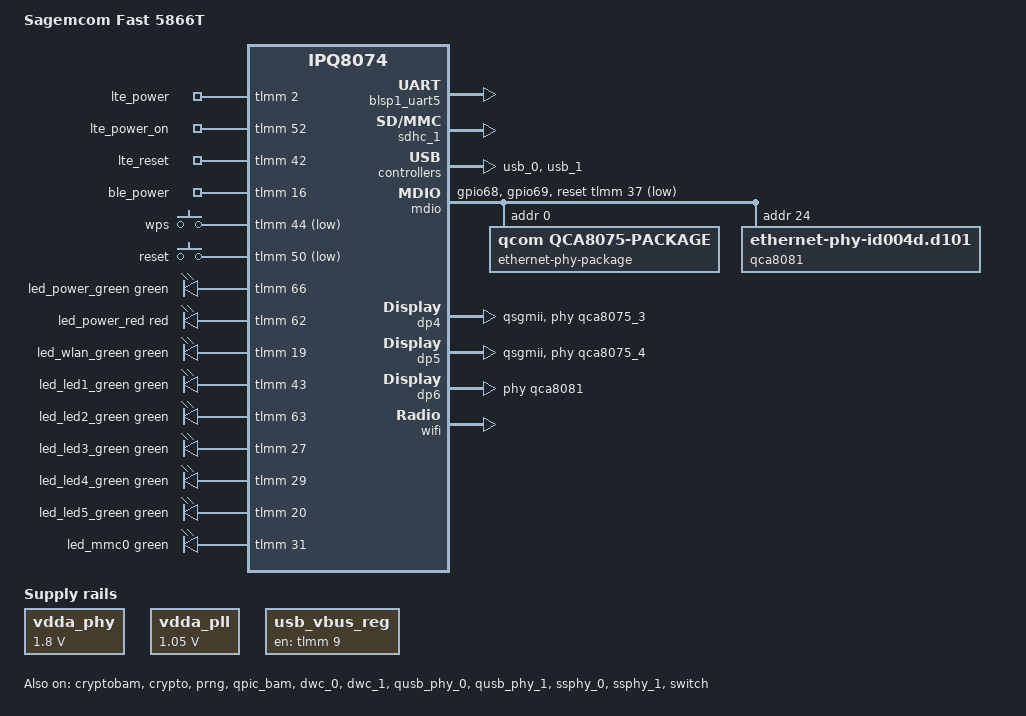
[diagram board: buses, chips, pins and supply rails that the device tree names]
// SPDX-License-Identifier: GPL-2.0-or-later OR MIT

/dts-v1/;

#include "ipq8074.dtsi"
#include "ipq8074-hk-cpu.dtsi"
#include "ipq8074-ess.dtsi"
#include <dt-bindings/gpio/gpio.h>
#include <dt-bindings/input/input.h>
#include <dt-bindings/leds/common.h>

/ {
	model = "Sagemcom Fast 5866T";
	compatible = "sagemcom,5866t", "qcom,ipq8074";

	aliases {
		led-boot = &led_power_green;
		led-failsafe = &led_power_red;
		led-running = &led_power_green;
		led-upgrade = &led_power_red;
		serial0 = &blsp1_uart5;
		ethernet3 = &dp4;
		ethernet4 = &dp5;
		ethernet5 = &dp6;
		label-mac-device = &dp4;
	};

	chosen {
		stdout-path = "serial0:115200n8";
    bootargs-append = " swiotlb=1 coherent_pool=2M";
		// bootargs-append = "swiotlb=1 coherent_pool=2M usb-storage.quirks=2c7c:0800:u";
	};

	vdda_phy: regulator-fixed {
		compatible = "regulator-fixed";
		regulator-name = "vdda-phy";
		regulator-min-microvolt = <1800000>;
		regulator-max-microvolt = <1800000>;
		regulator-always-on;
	};

	vdda_pll: regulator-fixed {
		compatible = "regulator-fixed";
		regulator-name = "vdda-pll";
		regulator-min-microvolt = <1050000>;
		regulator-max-microvolt = <1050000>;
		regulator-always-on;
	};
 
	usb_vbus_reg: regulator-usb-vbus {
		compatible = "regulator-fixed";
		regulator-name = "usb_vbus";
		gpio = <&tlmm 9 GPIO_ACTIVE_LOW>;
		enable-active-high;
		regulator-always-on;
		regulator-boot-on;
	};

	gpio-export {
		compatible = "gpio-export";

		lte-power {
			gpio-export,name = "lte_power";
			gpio-export,output = <1>;
			gpios = <&tlmm 2 GPIO_ACTIVE_HIGH>;
		};

		lte-power-on {
			gpio-export,name = "lte_power_on";
			gpio-export,output = <1>;
			gpios = <&tlmm 52 GPIO_ACTIVE_HIGH>;
		};

		lte-reset {
			gpio-export,name = "lte_reset";
			gpio-export,output = <1>;
			gpios = <&tlmm 42 GPIO_ACTIVE_HIGH>;
		};

		ble-power {
			gpio-export,name = "ble_power";
			gpio-export,output = <1>;
			gpios = <&tlmm 16 GPIO_ACTIVE_HIGH>;
		};
	};

	keys {
		compatible = "gpio-keys";

		wps {
			label = "wps";
			linux,code = <KEY_WPS_BUTTON>;
			gpios = <&tlmm 44 GPIO_ACTIVE_LOW>;
			debounce-interval = <60>;
		};

		reset {
			label = "reset";
			linux,code = <KEY_RESTART>;
			gpios = <&tlmm 50 GPIO_ACTIVE_LOW>;
			debounce-interval = <60>;
		};
	};

	leds {
		compatible = "gpio-leds";

		led_power_green: power_green {
			function = LED_FUNCTION_POWER;
			color = <LED_COLOR_ID_GREEN>;
			gpios = <&tlmm 66 GPIO_ACTIVE_HIGH>;
			default-state = "on";
		};

		led_power_red: power_red {
			function = LED_FUNCTION_POWER;
			color = <LED_COLOR_ID_RED>;
			gpios = <&tlmm 62 GPIO_ACTIVE_HIGH>;
			default-state = "off";
		};

		led_wlan_green: wlan_green {
			function = LED_FUNCTION_WLAN;
			color = <LED_COLOR_ID_GREEN>;
			gpios = <&tlmm 19 GPIO_ACTIVE_HIGH>;
			default-state = "on";
		};

		led_led1_green: led1_green {
			function = "status";
			color = <LED_COLOR_ID_GREEN>;
			gpios = <&tlmm 43 GPIO_ACTIVE_HIGH>;
			default-state = "off";
		};

		led_led2_green: led2_green {
			function = "status";
			color = <LED_COLOR_ID_GREEN>;
			gpios = <&tlmm 63 GPIO_ACTIVE_HIGH>;
			default-state = "off";
		};

		led_led3_green: led3_green {
			function = "status";
			color = <LED_COLOR_ID_GREEN>;
			gpios = <&tlmm 27 GPIO_ACTIVE_HIGH>;
			default-state = "off";
		};

		led_led4_green: led4_green {
			function = "status";
			color = <LED_COLOR_ID_GREEN>;
			gpios = <&tlmm 29 GPIO_ACTIVE_HIGH>;
			default-state = "off";
		};

		led_led5_green: led5_green {
			function = "status";
			color = <LED_COLOR_ID_GREEN>;
			gpios = <&tlmm 20 GPIO_ACTIVE_HIGH>;
			default-state = "off";
		};

		led_mmc0: mmc0 {
			function = "mmc";
			color = <LED_COLOR_ID_GREEN>;
			gpios = <&tlmm 31 GPIO_ACTIVE_HIGH>;
			linux,default-trigger = "mmc0";
			default-state = "off";
		};
	};
};

&tlmm {
	mdio_pins: mdio-pins {
		mdc {
			pins = "gpio68";
			function = "mdc";
			drive-strength = <8>;
			bias-pull-up;
		};

		mdio {
			pins = "gpio69";
			function = "mdio";
			drive-strength = <8>;
			bias-pull-up;
		};
	};

	led_pins: led-pins {
		pins = "gpio19", "gpio20", "gpio27", "gpio29", 
		       "gpio43", "gpio62", "gpio63", "gpio66";
		function = "gpio";
		drive-strength = <8>;
		bias-pull-down;
	};

	modem_pins: modem-pins {
		pins = "gpio2", "gpio42", "gpio52";
		function = "gpio";
		drive-strength = <8>;
		bias-pull-up;
	};
};

&blsp1_uart5 {
	status = "okay";
};

&cryptobam {
	status = "okay";
};

&crypto {
	status = "okay";
};

&prng {
	status = "okay";
};

&qpic_bam {
	status = "okay";
};

&sdhc_1 {
	/delete-property/ mmc-hs400-1_8v;
	mmc-hs200-1_8v;
	mmc-ddr-1_8v;
	vqmmc-supply = <&l11>;
	status = "okay";

	partitions {
		compatible = "fixed-partitions";
		#address-cells = <1>;
		#size-cells = <1>;

		partition@0 {
			label = "sbl1";
			reg = <0x00008800 0x00080000>;
			read-only;
		};

		partition@1 {
			label = "bootconfig";
			reg = <0x00010800 0x00040000>;
			read-only;
		};

		partition@2 {
			label = "bootconfig1";
			reg = <0x00018800 0x00040000>;
			read-only;
		};

		partition@3 {
			label = "qsee";
			reg = <0x00020800 0x00180000>;
		};

		partition@4 {
			label = "qsee_1";
			reg = <0x00038800 0x00180000>;
		};

		partition@5 {
			label = "devcfg";
			reg = <0x00050800 0x00040000>;
		};

		partition@6 {
			label = "devcfg_1";
			reg = <0x00058800 0x00040000>;
		};

		partition@7 {
			label = "rpm";
			reg = <0x00070800 0x00040000>;
		};

		partition@8 {
			label = "rpm_1";
			reg = <0x00078800 0x00040000>;
		};

		partition@9 {
			label = "appsbl";
			reg = <0x0009a800 0x000a0000>;
		};

		partition@10 {
			label = "art";
			reg = <0x000ae800 0x00040000>;
			read-only;
		};

		partition@11 {
			label = "hlos";
			reg = <0x000b6800 0x00600000>;
		};

		partition@12 {
			label = "rootfs";
			reg = <0x00116800 0x12C00000>;
		};

		partition@13 {
			label = "wififw";
			reg = <0x013d6800 0x00400000>;
		};

		partition@14 {
			label = "ethphyfw";
			reg = <0x01416800 0x00080000>;
		};

		partition@15 {
			label = "rootfs_data";
			reg = <0x014e2000 0x190000000>; 
		};
	};
};

&usb_0 {
	status = "okay";
};

&usb_1 {
	status = "okay";
};

&dwc_0 {
	status = "okay";
};

&dwc_1 {
	status = "okay";
};

&qusb_phy_0 {
	status = "okay";
	vdd-supply = <&usb_vbus_reg>;
};

&qusb_phy_1 {
	status = "okay";
	vdd-supply = <&usb_vbus_reg>;
};

&ssphy_0 {
	status = "okay"; 
};

&ssphy_1 {
	status = "okay"; 
};

&mdio {
	status = "okay";

	pinctrl-0 = <&mdio_pins>;
	pinctrl-names = "default";
	reset-gpios = <&tlmm 37 GPIO_ACTIVE_LOW>;

	ethernet-phy-package@0 {
		compatible = "qcom,qca8075-package";
		#address-cells = <1>;
		#size-cells = <0>;
		reg = <0>;
		qcom,package-mode = "qsgmii";

		qca8075_3: ethernet-phy@3 {
			compatible = "ethernet-phy-ieee802.3-c22";
			reg = <3>;
		};

		qca8075_4: ethernet-phy@4 {
			compatible = "ethernet-phy-ieee802.3-c22";
			reg = <4>;
		};
	};

	qca8081: ethernet-phy@24 {
		compatible = "ethernet-phy-id004d.d101";
		reg = <24>;
		reset-deassert-us = <10000>;
	};
};

&switch {
	status = "okay";

	switch_lan_bmp = <(ESS_PORT4 | ESS_PORT5)>;
	switch_wan_bmp = <ESS_PORT6>;
	switch_mac_mode = <MAC_MODE_QSGMII>;

	qcom,port_phyinfo {
		port@1 {
			port_id = <1>;
			phy_address = <3>;
		};
		port@2 {
			port_id = <2>;
			phy_address = <4>;
		};
		port@6 {
			port_id = <6>;
			phy_address = <24>;
			port_mac_sel = "QGMAC_PORT";
		};
	};
};

&edma {
	status = "okay";
};

&dp4 {
	status = "okay";
	phy-mode = "qsgmii";
	phy-handle = <&qca8075_3>;
	label = "lan1";
};

&dp5 {
	status = "okay";
	phy-mode = "qsgmii";
	phy-handle = <&qca8075_4>;
	label = "wan";
};

&dp6 {
	status = "okay";
	phy-handle = <&qca8081>;
	label = "lan2";
};

&wifi {
	status = "okay";
	qcom,ath11k-calibration-variant = "Sagemcom-5866T";
};
